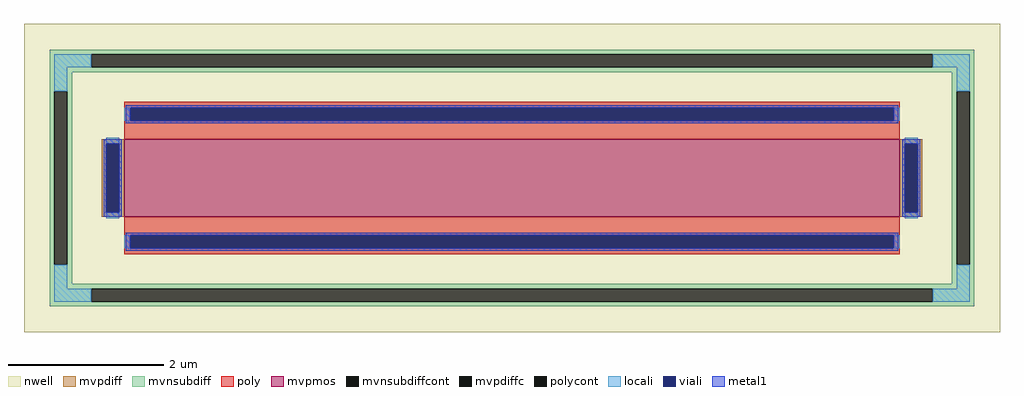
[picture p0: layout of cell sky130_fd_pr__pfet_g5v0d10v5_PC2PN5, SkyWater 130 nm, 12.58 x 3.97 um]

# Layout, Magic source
magic
tech sky130A
magscale 1 2
<< nwell >>
rect -1258 -397 1258 397
<< mvpmos >>
rect -1000 -100 1000 100
<< mvpdiff >>
rect -1058 88 -1000 100
rect -1058 -88 -1046 88
rect -1012 -88 -1000 88
rect -1058 -100 -1000 -88
rect 1000 88 1058 100
rect 1000 -88 1012 88
rect 1046 -88 1058 88
rect 1000 -100 1058 -88
<< mvpdiffc >>
rect -1046 -88 -1012 88
rect 1012 -88 1046 88
<< mvnsubdiff >>
rect -1192 319 1192 331
rect -1192 285 -1084 319
rect 1084 285 1192 319
rect -1192 273 1192 285
rect -1192 223 -1134 273
rect -1192 -223 -1180 223
rect -1146 -223 -1134 223
rect 1134 223 1192 273
rect -1192 -273 -1134 -223
rect 1134 -223 1146 223
rect 1180 -223 1192 223
rect 1134 -273 1192 -223
rect -1192 -285 1192 -273
rect -1192 -319 -1084 -285
rect 1084 -319 1192 -285
rect -1192 -331 1192 -319
<< mvnsubdiffcont >>
rect -1084 285 1084 319
rect -1180 -223 -1146 223
rect 1146 -223 1180 223
rect -1084 -319 1084 -285
<< poly >>
rect -1000 181 1000 197
rect -1000 147 -984 181
rect 984 147 1000 181
rect -1000 100 1000 147
rect -1000 -147 1000 -100
rect -1000 -181 -984 -147
rect 984 -181 1000 -147
rect -1000 -197 1000 -181
<< polycont >>
rect -984 147 984 181
rect -984 -181 984 -147
<< locali >>
rect -1180 285 -1084 319
rect 1084 285 1180 319
rect -1180 223 -1146 285
rect 1146 223 1180 285
rect -1000 147 -984 181
rect 984 147 1000 181
rect -1046 88 -1012 104
rect -1046 -104 -1012 -88
rect 1012 88 1046 104
rect 1012 -104 1046 -88
rect -1000 -181 -984 -147
rect 984 -181 1000 -147
rect -1180 -285 -1146 -223
rect 1146 -285 1180 -223
rect -1180 -319 -1084 -285
rect 1084 -319 1180 -285
<< viali >>
rect -984 147 984 181
rect -1046 -88 -1012 88
rect 1012 -88 1046 88
rect -984 -181 984 -147
<< metal1 >>
rect -996 181 996 187
rect -996 147 -984 181
rect 984 147 996 181
rect -996 141 996 147
rect -1052 88 -1006 100
rect -1052 -88 -1046 88
rect -1012 -88 -1006 88
rect -1052 -100 -1006 -88
rect 1006 88 1052 100
rect 1006 -88 1012 88
rect 1046 -88 1052 88
rect 1006 -100 1052 -88
rect -996 -147 996 -141
rect -996 -181 -984 -147
rect 984 -181 996 -147
rect -996 -187 996 -181
<< properties >>
string FIXED_BBOX -1163 -302 1163 302
string gencell sky130_fd_pr__pfet_g5v0d10v5
string library sky130
string parameters w 1.0 l 10.0 m 1 nf 1 diffcov 100 polycov 100 guard 1 glc 1 grc 1 gtc 1 gbc 1 tbcov 100 rlcov 100 topc 1 botc 1 poverlap 0 doverlap 1 lmin 0.50 wmin 0.42 compatible {sky130_fd_pr__pfet_01v8  sky130_fd_pr__pfet_01v8_lvt sky130_fd_pr__pfet_01v8_hvt  sky130_fd_pr__pfet_g5v0d10v5} full_metal 1 viasrc 100 viadrn 100 viagate 100 viagb 0 viagr 0 viagl 0 viagt 0
<< end >>
